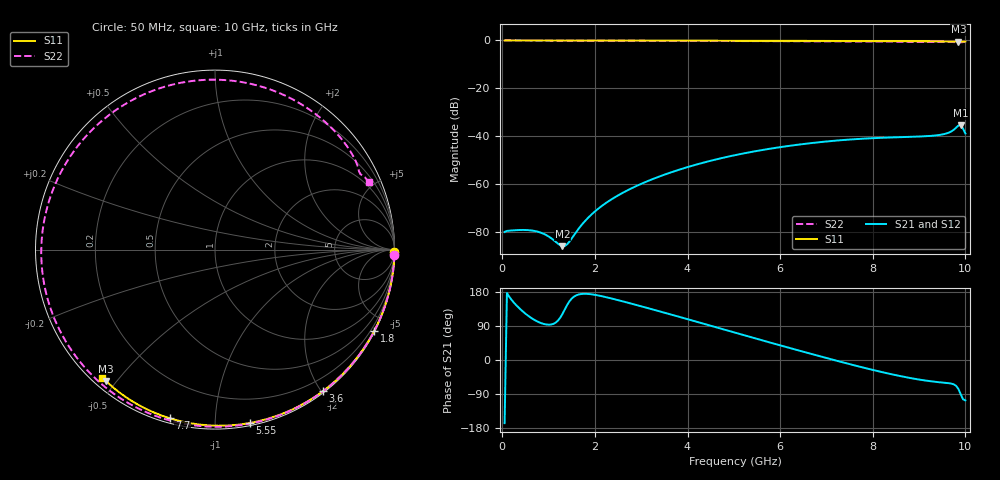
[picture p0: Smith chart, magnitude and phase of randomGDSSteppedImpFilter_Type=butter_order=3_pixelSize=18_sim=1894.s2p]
! freq	dB(S11)	phase(S11)	dB(S12)	phase(S12)
!  dB(S21)	phase(S21)	dB(S22)	phase(S22)
!S-par simulation data
#  GHz  S  DB  R 50
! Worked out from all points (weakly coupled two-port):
!   200 points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, 50 MHz to 10 GHz, reference 50 ohm
!   highest |S21| = -35.35 dB at 9.9 GHz (marker M1); lowest = -85.8 dB at 1.3 GHz (marker M2)
!   lowest |S11| = -0.4 dB at 9.85 GHz (marker M3), VSWR 39.78, Z = 1.53 - j23.5 ohm
!   |S11| at or under -10 dB: nowhere
!   |S22| runs from -0.8 to 0.0 dB; largest |S21 - S12| = 0
!   S11 on the Smith chart (normalised r, x): 50 MHz: open; 1.8 GHz: 0.04, -4.17; 3.6 GHz: 0.02, -2.02; 5.55 GHz: 0.02, -1.22; 7.7 GHz: 0.02, -0.77; 10 GHz: 0.03, -0.45
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0.05  -0.00 -0.8  -79.89 -166.6  -79.89 -166.6  -0.00 -1.7
0.65  -0.01 -9.9  -79.32 109.0  -79.32 109.0  -0.02 -22.0
1.3  -0.02 -19.6  -85.83 121.7  -85.83 121.7  -0.05 -43.5
1.6  -0.03 -24.0  -79.82 170.8  -79.82 170.8  -0.07 -53.2
1.75  -0.03 -26.2  -76.12 174.6  -76.12 174.6  -0.07 -58.1
1.8  -0.03 -27.0  -75.05 174.7  -75.05 174.7  -0.08 -59.6
2.45  -0.05 -36.4  -65.20 159.6  -65.20 159.6  -0.10 -80.1
3.4  -0.07 -49.9  -56.71 128.3  -56.71 128.3  -0.14 -108.9
3.6  -0.07 -52.7  -55.32 121.5  -55.32 121.5  -0.15 -114.8
4.35  -0.09 -63.0  -50.94 95.7  -50.94 95.7  -0.19 -136.9
5.05  -0.11 -72.3  -47.76 71.3  -47.76 71.3  -0.23 -157.6
5.55  -0.13 -78.7  -45.92 54.0  -45.92 54.0  -0.27 -172.7
6.15  -0.15 -86.3  -44.10 33.6  -44.10 33.6  -0.31 168.5
6.7  -0.18 -93.1  -42.76 15.1  -42.76 15.1  -0.36 150.4
7.7  -0.24 -105.1  -41.08 -17.1  -41.08 -17.1  -0.43 114.8
8.35  -0.29 -112.7  -40.49 -36.1  -40.49 -36.1  -0.48 89.7
8.9  -0.33 -119.0  -40.16 -49.5  -40.16 -49.5  -0.51 67.4
9.45  -0.39 -125.2  -39.40 -58.9  -39.40 -58.9  -0.56 44.5
9.7  -0.42 -128.0  -37.91 -62.4  -37.91 -62.4  -0.63 34.0
9.85  -0.44 -129.6  -35.50 -76.6  -35.50 -76.6  -0.79 28.4
9.9  -0.43 -130.1  -35.35 -90.9  -35.35 -90.9  -0.79 27.4
10  -0.43 -131.3  -38.81 -106.7  -38.81 -106.7  -0.56 23.6
